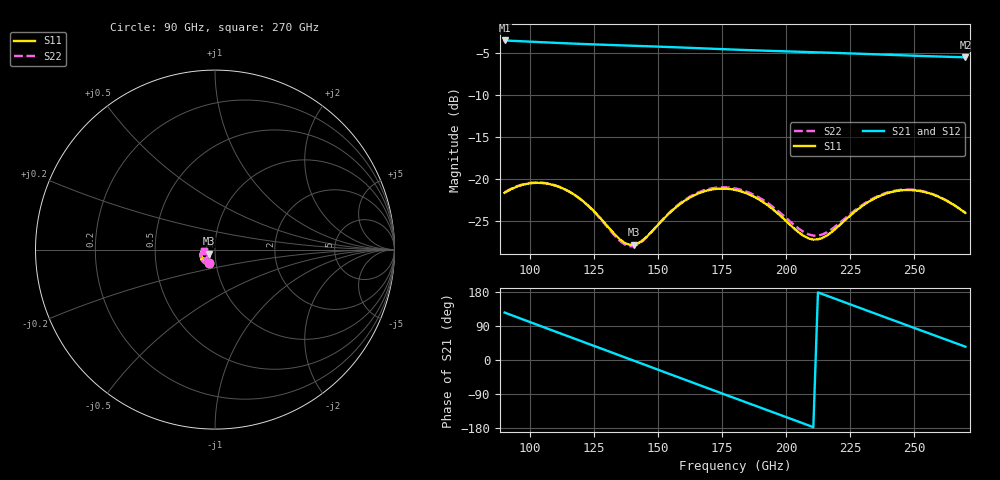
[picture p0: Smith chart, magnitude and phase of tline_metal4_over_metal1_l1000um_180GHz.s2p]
#  GHZ S DB R 50
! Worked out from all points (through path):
!   101 points, 90 GHz to 270 GHz, reference 50 ohm
!   highest |S21| = -3.44 dB at 90 GHz (marker M1); lowest = -5.5 dB at 270 GHz (marker M2)
!   group delay of S21, straight-line fit = 6.95 ps
!   lowest |S11| = -27.9 dB at 140.4 GHz (marker M3), VSWR 1.08, Z = 46.8 - j2.21 ohm
!   |S11| at or under -10 dB: start of sweep to end of sweep
!   |S22| runs from -28.0 to -20.4 dB; largest |S21 - S12| = 6.9e-14
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90  -21.65 -114.2  -3.44 125.2  -3.44 125.2  -21.59 -113.4
97.2  -20.67 -126.2  -3.55 106.9  -3.55 106.9  -20.62 -125.6
104.4  -20.47 -139.0  -3.65 88.8  -3.65 88.8  -20.43 -138.4
111.6  -20.98 -151.2  -3.75 70.6  -3.75 70.6  -20.96 -150.6
120.6  -22.64 -163.2  -3.86 48.1  -3.86 48.1  -22.66 -162.7
131.4  -26.06 -164.8  -3.98 21.0  -3.98 21.0  -26.19 -164.1
140.4  -27.86 -144.3  -4.08 -1.6  -4.08 -1.6  -28.02 -142.3
151.2  -25.05 -126.4  -4.19 -28.8  -4.19 -28.8  -25.02 -123.9
165.6  -21.73 -137.0  -4.36 -64.9  -4.36 -64.9  -21.61 -134.8
172.8  -21.18 -146.9  -4.45 -83.0  -4.45 -83.0  -21.03 -144.7
180  -21.30 -156.9  -4.54 -100.9  -4.54 -100.9  -21.12 -154.7
187.2  -22.08 -165.8  -4.62 -118.9  -4.62 -118.9  -21.86 -163.6
196.2  -23.98 -172.2  -4.71 -141.3  -4.71 -141.3  -23.67 -170.0
203.4  -25.99 -169.2  -4.78 -159.2  -4.78 -159.2  -25.57 -167.4
210.6  -27.24 -155.4  -4.85 -177.2  -4.85 -177.2  -26.76 -154.9
216  -26.73 -143.3  -4.90 169.3  -4.90 169.3  -26.35 -143.7
225  -24.37 -135.4  -4.99 146.9  -4.99 146.9  -24.19 -135.9
234  -22.40 -140.0  -5.09 124.4  -5.09 124.4  -22.31 -140.1
241.2  -21.54 -147.6  -5.17 106.5  -5.17 106.5  -21.48 -147.4
248.4  -21.31 -156.3  -5.25 88.6  -5.25 88.6  -21.26 -155.8
255.6  -21.68 -164.5  -5.32 70.8  -5.32 70.8  -21.64 -163.8
270  -24.05 -173.1  -5.45 35.1  -5.45 35.1  -24.04 -172.2
